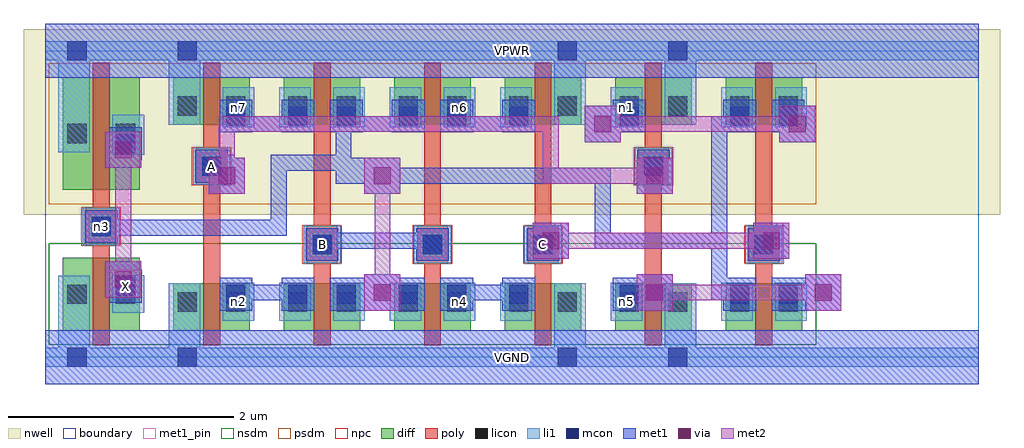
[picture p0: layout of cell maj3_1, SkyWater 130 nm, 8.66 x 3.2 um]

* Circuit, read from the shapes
.subckt maj3_1 A B C VGND VPWR X n1 n2 n3 n4 n5 n6 n7
XM1 X n3 VGND VSUBS sky130_fd_pr__nfet_01v8 w=0.65 l=0.15
XM2 n2 A VGND VSUBS sky130_fd_pr__nfet_01v8 w=0.42 l=0.15
XM3 n3 B n2 VSUBS sky130_fd_pr__nfet_01v8 w=0.42 l=0.15
XM4 n4 B n3 VSUBS sky130_fd_pr__nfet_01v8 w=0.42 l=0.15
XM5 VGND C n4 VSUBS sky130_fd_pr__nfet_01v8 w=0.42 l=0.15
XM6 VGND A n5 VSUBS sky130_fd_pr__nfet_01v8 w=0.42 l=0.15
XM7 n5 C n3 VSUBS sky130_fd_pr__nfet_01v8 w=0.42 l=0.15
XM8 X n3 VPWR n8 sky130_fd_pr__pfet_01v8 w=1 l=0.15
XM9 n7 A VPWR n8 sky130_fd_pr__pfet_01v8 w=0.42 l=0.15
XM10 n3 B n7 n8 sky130_fd_pr__pfet_01v8 w=0.42 l=0.15
XM11 n6 B n3 n8 sky130_fd_pr__pfet_01v8 w=0.42 l=0.15
XM12 VPWR C n6 n8 sky130_fd_pr__pfet_01v8 w=0.42 l=0.15
XM13 VPWR A n1 n8 sky130_fd_pr__pfet_01v8 w=0.42 l=0.15
XM14 n1 C n3 n8 sky130_fd_pr__pfet_01v8 w=0.42 l=0.15
.ends

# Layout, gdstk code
import gdstk
lib = gdstk.Library(unit=1e-6, precision=1e-09)
def R(c, l, rs):  # rectangles x0, y0, x1, y1
    for r in rs: c.add(gdstk.rectangle(r[:2], r[2:], *l))
def A(c, l, x, y, w, h, nx, ny, dx, dy):  # array of equal rectangles
    R(c, l, [(x+i*dx, y+j*dy, x+i*dx+w, y+j*dy+h) for i in range(nx) for j in range(ny)])
nwell = (64, 20)
diff = (65, 20)
poly = (66, 20)
licon = (66, 44)
li1 = (67, 20)
mcon = (67, 44)
met1_pin = (68, 16)
met1 = (68, 20)
via = (68, 44)
met2 = (69, 20)
nsdm = (93, 44)
psdm = (94, 20)
npc = (95, 20)
boundary = (235, 4)

maj3_1 = lib.new_cell('maj3_1')
R(maj3_1, nwell, [(-0.19,1.265,8.47,2.91), (0,1.265,8.28,2.91)])
A(maj3_1, diff, 1.135, 0.235, 0.68, 0.42, 6, 2, 0.98, 1.83)
R(maj3_1, diff, [(0.155,0.235,0.835,0.885), (0.155,1.485,0.835,2.485)])
A(maj3_1, poly, 0.42, 0.105, 0.15, 2.51, 7, 1, 0.98, 0)
A(maj3_1, poly, 2.32, 0.83, 0.27, 0.34, 3, 1, 0.98, 0)
R(maj3_1, poly, [(6.24,0.83,6.51,1.17), (0.36,0.99,0.63,1.33), (1.34,1.525,1.61,1.865), (5.26,1.525,5.53,1.865)])
A(maj3_1, licon, 2.37, 0.915, 0.17, 0.17, 3, 1, 0.98, 0)
R(maj3_1, licon, [(1.175,0.405,1.345,0.575), (1.605,0.405,1.775,0.575), (2.155,0.405,2.325,0.575), (2.585,0.405,2.755,0.575), (3.135,0.405,3.305,0.575), (3.565,0.405,3.735,0.575), (4.115,0.405,4.285,0.575), (4.545,0.405,4.715,0.575), (5.095,0.405,5.265,0.575), (5.525,0.405,5.695,0.575), (6.075,0.405,6.245,0.575), (6.505,0.405,6.675,0.575), (0.195,0.475,0.365,0.645), (0.625,0.475,0.795,0.645), (6.29,0.915,6.46,1.085), (0.41,1.075,0.58,1.245), (1.39,1.61,1.56,1.78), (5.31,1.61,5.48,1.78), (0.195,1.9,0.365,2.07), (0.625,1.9,0.795,2.07), (1.175,2.145,1.345,2.315), (1.605,2.145,1.775,2.315), (2.155,2.145,2.325,2.315), (2.585,2.145,2.755,2.315), (3.135,2.145,3.305,2.315), (3.565,2.145,3.735,2.315), (4.115,2.145,4.285,2.315), (4.545,2.145,4.715,2.315), (5.095,2.145,5.265,2.315), (5.525,2.145,5.695,2.315), (6.075,2.145,6.245,2.315), (6.505,2.145,6.675,2.315)])
A(maj3_1, li1, 4.035, 0.325, 0.28, 0.335, 3, 1, 0.98, 0)
A(maj3_1, li1, 2.29, 0.835, 0.33, 0.33, 3, 1, 0.98, 0)
A(maj3_1, li1, 4.035, 2.04, 0.28, 0.355, 3, 1, 0.98, 0)
R(maj3_1, li1, [(0,-0.085,8.28,0.085), (0.115,-0.085,0.395,0.725), (1.095,-0.085,1.375,0.655), (4.515,-0.085,4.795,0.655), (5.495,-0.085,5.775,0.655), (1.575,0.325,1.855,0.66), (2.075,0.325,2.355,0.66), (2.555,0.325,2.835,0.66), (3.055,0.325,3.335,0.66), (3.535,0.325,3.815,0.66), (6.475,0.325,6.755,0.66), (0.595,0.395,0.875,0.73), (6.21,0.835,6.54,1.165), (0.33,0.995,0.66,1.325), (1.31,1.53,1.64,1.86), (5.23,1.53,5.56,1.86), (0.595,1.795,0.875,2.15), (0.115,1.82,0.395,2.805), (1.575,2.04,1.855,2.395), (2.075,2.04,2.355,2.395), (2.555,2.04,2.835,2.395), (3.055,2.04,3.335,2.395), (3.535,2.04,3.815,2.395), (6.475,2.04,6.755,2.395), (1.095,2.065,1.375,2.805), (4.515,2.065,4.795,2.805), (5.495,2.065,5.775,2.805), (0,2.635,8.28,2.805)])
A(maj3_1, mcon, 4.115, 0.475, 0.17, 0.17, 3, 2, 0.98, 1.58)
A(maj3_1, mcon, 2.37, 0.915, 0.17, 0.17, 3, 1, 0.98, 0)
R(maj3_1, mcon, [(0.195,-0.085,0.365,0.085), (1.175,-0.085,1.345,0.085), (4.545,-0.085,4.715,0.085), (5.525,-0.085,5.695,0.085), (1.605,0.475,1.775,0.645), (2.155,0.475,2.325,0.645), (2.585,0.475,2.755,0.645), (3.135,0.475,3.305,0.645), (3.565,0.475,3.735,0.645), (6.505,0.475,6.675,0.645), (0.625,0.545,0.795,0.715), (6.29,0.915,6.46,1.085), (0.41,1.075,0.58,1.245), (1.39,1.61,1.56,1.78), (5.31,1.61,5.48,1.78), (0.625,1.81,0.795,1.98), (1.605,2.055,1.775,2.225), (2.155,2.055,2.325,2.225), (2.585,2.055,2.755,2.225), (3.135,2.055,3.305,2.225), (3.565,2.055,3.735,2.225), (6.505,2.055,6.675,2.225), (0.195,2.635,0.365,2.805), (1.175,2.635,1.345,2.805), (4.545,2.635,4.715,2.805), (5.525,2.635,5.695,2.805)])
R(maj3_1, met1_pin, [(0,-0.24,8.28,0.24), (0.565,0.485,0.855,0.775), (2.31,0.855,2.6,1.145), (4.27,0.855,4.56,1.145), (1.33,1.55,1.62,1.84), (0,2.48,8.28,2.96)])
A(maj3_1, met1, 4.055, 0.415, 0.29, 0.29, 3, 2, 0.98, 1.58)
A(maj3_1, met1, 1.655, 0.505, 0.14, 0.14, 3, 2, 0.46, 1.495)
A(maj3_1, met1, 3.15, 0.505, 0.14, 0.14, 3, 2, 0.46, 1.495)
A(maj3_1, met1, 2.31, 0.855, 0.29, 0.29, 3, 1, 0.98, 0)
R(maj3_1, met1, [(0,-0.24,8.28,0.24), (1.545,0.415,1.835,0.705), (2.095,0.415,2.385,0.705), (2.525,0.415,2.815,0.705), (2.815,0.415,2.83,0.705), (2.83,0.415,3.15,0.735), (3.075,0.415,3.365,0.705), (3.505,0.415,3.795,0.705), (5.245,0.415,5.565,0.735), (6.445,0.415,6.735,0.705), (6.735,0.415,6.74,0.705), (6.74,0.415,7.06,0.735), (0.565,0.485,0.855,0.775), (1.655,0.505,2.255,0.645), (2.575,0.505,3.06,0.645), (2.815,0.505,2.92,0.645), (2.92,0.505,3.29,0.645), (3.61,0.505,4.21,0.645), (5.105,0.505,5.245,0.645), (5.105,0.505,5.475,0.645), (5.91,0.505,6.165,0.645), (5.91,0.505,6.05,1.105), (6.025,0.505,6.165,0.645), (6.485,0.505,6.625,0.645), (6.485,0.505,6.97,0.645), (0.53,0.53,0.85,0.85), (0.62,0.62,0.76,0.76), (6.23,0.855,6.52,1.145), (4.325,0.875,4.645,1.195), (6.28,0.875,6.6,1.195), (2.46,0.965,2.6,1.105), (2.46,0.965,3.52,1.105), (3.38,0.965,3.52,1.105), (4.415,0.965,4.555,1.105), (4.875,0.965,5.015,1.68), (4.875,0.965,6.05,1.105), (5.91,0.965,6.05,2.14), (6.37,0.965,6.51,1.105), (0.35,1.015,0.64,1.305), (0.39,1.08,0.53,1.22), (0.39,1.08,2.14,1.22), (2,1.08,2.14,1.795), (1.45,1.45,1.77,1.77), (2.83,1.45,3.15,1.77), (5.245,1.45,5.565,1.77), (1.54,1.54,1.68,1.795), (2.575,1.54,2.715,1.795), (2.575,1.54,3.06,1.68), (2.715,1.54,2.83,1.77), (2.92,1.54,5.015,1.68), (5.335,1.54,5.475,1.795), (1.33,1.55,1.62,1.84), (5.25,1.55,5.54,1.84), (1.425,1.655,1.565,1.795), (1.425,1.655,1.68,1.795), (2,1.655,2.715,1.795), (2.575,1.655,2.715,2.14), (2.715,1.655,2.83,1.77), (5.335,1.655,5.475,1.795), (0.53,1.68,0.85,2), (0.565,1.75,0.855,2.04), (0.62,1.77,0.76,1.91), (4.785,1.91,5.105,2.23), (6.51,1.91,6.83,2.23), (1.545,1.995,1.835,2.285), (2.095,1.995,2.385,2.285), (2.525,1.995,2.815,2.285), (3.075,1.995,3.365,2.285), (3.505,1.995,3.795,2.285), (6.445,1.995,6.735,2.285), (1.655,2,2.255,2.14), (2.575,2,3.29,2.14), (3.61,2,4.21,2.14), (4.875,2,5.245,2.14), (5.105,2,5.245,2.14), (5.91,2,6.165,2.14), (6.025,2,6.165,2.14), (6.485,2,6.625,2.14), (6.485,2,6.74,2.14), (0,2.48,8.28,2.96)])
R(maj3_1, via, [(2.915,0.5,3.065,0.65), (5.33,0.5,5.48,0.65), (6.825,0.5,6.975,0.65), (0.615,0.615,0.765,0.765), (4.41,0.96,4.56,1.11), (6.365,0.96,6.515,1.11), (1.535,1.535,1.685,1.685), (2.915,1.535,3.065,1.685), (5.33,1.535,5.48,1.685), (0.615,1.765,0.765,1.915), (4.87,1.995,5.02,2.145), (6.595,1.995,6.745,2.145)])
R(maj3_1, met2, [(2.83,0.415,3.15,0.735), (5.245,0.415,5.565,0.735), (6.74,0.415,7.06,0.735), (2.92,0.505,3.06,1.68), (5.335,0.505,6.97,0.645), (0.53,0.53,0.85,0.85), (0.62,0.62,0.76,1.91), (4.325,0.875,4.645,1.195), (6.28,0.875,6.6,1.195), (4.415,0.965,6.51,1.105), (1.45,1.45,1.77,1.77), (2.83,1.45,3.15,1.77), (5.245,1.45,5.565,1.77), (1.54,1.54,1.68,2.14), (4.415,1.54,4.555,2.14), (4.415,1.54,5.475,1.68), (0.53,1.68,0.85,2), (4.785,1.91,5.105,2.23), (6.51,1.91,6.83,2.23), (1.54,2,4.555,2.14), (4.875,2,6.74,2.14)])
R(maj3_1, nsdm, [(0.03,0.11,6.84,1.01)])
R(maj3_1, psdm, [(0.03,1.36,6.84,2.61)])
A(maj3_1, npc, 2.28, 0.83, 0.35, 0.34, 3, 1, 0.98, 0)
R(maj3_1, npc, [(6.2,0.83,6.55,1.17), (0.32,0.99,0.67,1.33), (1.3,1.525,1.65,1.865), (5.22,1.525,5.57,1.865)])
R(maj3_1, boundary, [(0,0,8.28,2.72)])
maj3_1.add(gdstk.Label('n3', (0.495,1.16), layer=67, texttype=5))
maj3_1.add(gdstk.Label('n2', (1.715,0.492), layer=67, texttype=5))
maj3_1.add(gdstk.Label('n7', (1.715,2.217), layer=67, texttype=5))
maj3_1.add(gdstk.Label('n4', (3.675,0.492), layer=67, texttype=5))
maj3_1.add(gdstk.Label('n6', (3.675,2.217), layer=67, texttype=5))
maj3_1.add(gdstk.Label('n5', (5.155,0.492), layer=67, texttype=5))
maj3_1.add(gdstk.Label('n1', (5.155,2.217), layer=67, texttype=5))
maj3_1.add(gdstk.Label('A', (1.475,1.695), layer=68, texttype=5))
maj3_1.add(gdstk.Label('B', (2.455,1), layer=68, texttype=5))
maj3_1.add(gdstk.Label('C', (4.415,1), layer=68, texttype=5))
maj3_1.add(gdstk.Label('X', (0.71,0.63), layer=68, texttype=5))
maj3_1.add(gdstk.Label('VPWR', (4.14,2.72), layer=68, texttype=5))
maj3_1.add(gdstk.Label('VGND', (4.14,0), layer=68, texttype=5))
maj3_1.add(gdstk.Label('A', (1.475,1.695), layer=68, texttype=16))
maj3_1.add(gdstk.Label('B', (2.455,1), layer=68, texttype=16))
maj3_1.add(gdstk.Label('C', (4.415,1), layer=68, texttype=16))
maj3_1.add(gdstk.Label('X', (0.71,0.63), layer=68, texttype=16))
maj3_1.add(gdstk.Label('VPWR', (4.14,2.72), layer=68, texttype=16))
maj3_1.add(gdstk.Label('VGND', (4.14,0), layer=68, texttype=16))

lib.write_gds('maj3_1.gds')
